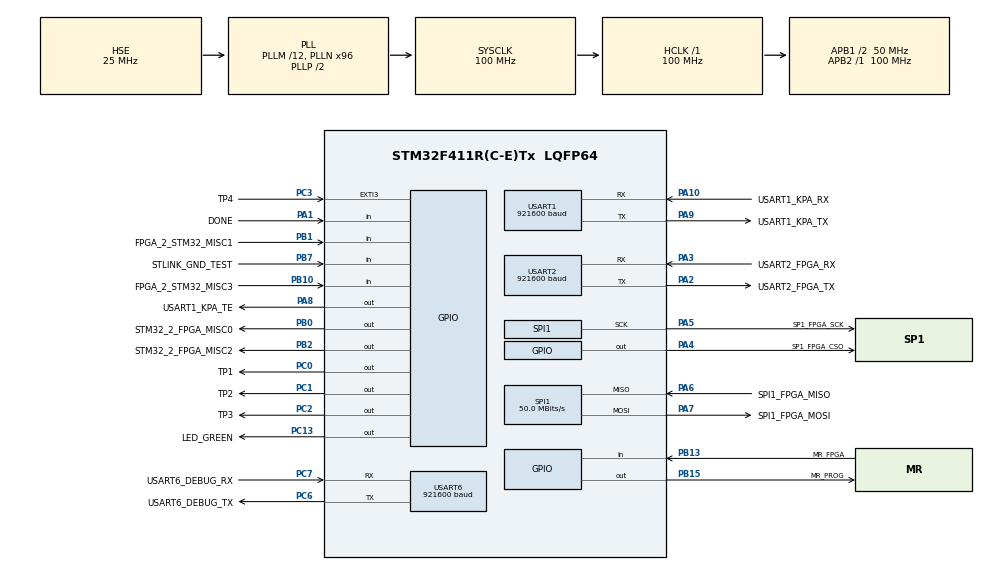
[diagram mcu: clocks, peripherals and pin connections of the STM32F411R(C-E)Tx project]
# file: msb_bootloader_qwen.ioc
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ADC1.Channel-0\#ChannelRegularConversion=ADC_CHANNEL_VREFINT
ADC1.Channel-1\#ChannelRegularConversion=ADC_CHANNEL_TEMPSENSOR
ADC1.ContinuousConvMode=ENABLE
ADC1.ExternalTrigConv=ADC_SOFTWARE_START
ADC1.InjNumberOfConversion=0
ADC1.NbrOfConversion=2
ADC1.NbrOfConversionFlag=1
ADC1.Rank-0\#ChannelRegularConversion=1
ADC1.Rank-1\#ChannelRegularConversion=2
ADC1.SamplingTime-0\#ChannelRegularConversion=ADC_SAMPLETIME_480CYCLES
ADC1.SamplingTime-1\#ChannelRegularConversion=ADC_SAMPLETIME_480CYCLES
ADC1.ScanConvMode=ENABLE
ADC1.master=1
Dma.Request0=USART6_RX
Dma.Request1=USART6_TX
Dma.Request2=USART1_RX
Dma.Request3=USART1_TX
Dma.Request4=USART2_RX
Dma.Request5=USART2_TX
Dma.USART1_RX.2.Direction=DMA_PERIPH_TO_MEMORY
Dma.USART1_RX.2.FIFOMode=DMA_FIFOMODE_DISABLE
Dma.USART1_RX.2.Instance=DMA2_Stream2
Dma.USART1_RX.2.MemDataAlignment=DMA_MDATAALIGN_BYTE
Dma.USART1_RX.2.MemInc=DMA_MINC_ENABLE
Dma.USART1_RX.2.Mode=DMA_CIRCULAR
Dma.USART1_RX.2.PeriphDataAlignment=DMA_PDATAALIGN_BYTE
Dma.USART1_RX.2.PeriphInc=DMA_PINC_DISABLE
Dma.USART1_RX.2.Priority=DMA_PRIORITY_LOW
Dma.USART1_TX.3.Direction=DMA_MEMORY_TO_PERIPH
Dma.USART1_TX.3.FIFOMode=DMA_FIFOMODE_DISABLE
Dma.USART1_TX.3.Instance=DMA2_Stream7
Dma.USART1_TX.3.MemDataAlignment=DMA_MDATAALIGN_BYTE
Dma.USART1_TX.3.MemInc=DMA_MINC_ENABLE
Dma.USART1_TX.3.Mode=DMA_NORMAL
Dma.USART1_TX.3.PeriphDataAlignment=DMA_PDATAALIGN_BYTE
Dma.USART1_TX.3.PeriphInc=DMA_PINC_DISABLE
Dma.USART1_TX.3.Priority=DMA_PRIORITY_LOW
Dma.USART2_RX.4.Direction=DMA_PERIPH_TO_MEMORY
Dma.USART2_RX.4.FIFOMode=DMA_FIFOMODE_DISABLE
Dma.USART2_RX.4.Instance=DMA1_Stream5
Dma.USART2_RX.4.MemDataAlignment=DMA_MDATAALIGN_BYTE
Dma.USART2_RX.4.MemInc=DMA_MINC_ENABLE
Dma.USART2_RX.4.Mode=DMA_NORMAL
Dma.USART2_RX.4.PeriphDataAlignment=DMA_PDATAALIGN_BYTE
Dma.USART2_RX.4.PeriphInc=DMA_PINC_DISABLE
Dma.USART2_RX.4.Priority=DMA_PRIORITY_LOW
Dma.USART2_TX.5.Direction=DMA_MEMORY_TO_PERIPH
Dma.USART2_TX.5.FIFOMode=DMA_FIFOMODE_DISABLE
Dma.USART2_TX.5.Instance=DMA1_Stream6
Dma.USART2_TX.5.MemDataAlignment=DMA_MDATAALIGN_BYTE
Dma.USART2_TX.5.MemInc=DMA_MINC_ENABLE
Dma.USART2_TX.5.Mode=DMA_NORMAL
Dma.USART2_TX.5.PeriphDataAlignment=DMA_PDATAALIGN_BYTE
Dma.USART2_TX.5.PeriphInc=DMA_PINC_DISABLE
Dma.USART2_TX.5.Priority=DMA_PRIORITY_LOW
Dma.USART6_RX.0.Direction=DMA_PERIPH_TO_MEMORY
Dma.USART6_RX.0.FIFOMode=DMA_FIFOMODE_DISABLE
Dma.USART6_RX.0.Instance=DMA2_Stream1
Dma.USART6_RX.0.MemDataAlignment=DMA_MDATAALIGN_BYTE
Dma.USART6_RX.0.MemInc=DMA_MINC_ENABLE
Dma.USART6_RX.0.Mode=DMA_CIRCULAR
Dma.USART6_RX.0.PeriphDataAlignment=DMA_PDATAALIGN_BYTE
Dma.USART6_RX.0.PeriphInc=DMA_PINC_DISABLE
Dma.USART6_RX.0.Priority=DMA_PRIORITY_LOW
Dma.USART6_TX.1.Direction=DMA_MEMORY_TO_PERIPH
Dma.USART6_TX.1.FIFOMode=DMA_FIFOMODE_DISABLE
Dma.USART6_TX.1.Instance=DMA2_Stream6
Dma.USART6_TX.1.MemDataAlignment=DMA_MDATAALIGN_BYTE
Dma.USART6_TX.1.MemInc=DMA_MINC_ENABLE
Dma.USART6_TX.1.Mode=DMA_NORMAL
Dma.USART6_TX.1.PeriphDataAlignment=DMA_PDATAALIGN_BYTE
Dma.USART6_TX.1.PeriphInc=DMA_PINC_DISABLE
Dma.USART6_TX.1.Priority=DMA_PRIORITY_LOW
FREERTOS.Tasks01=defaultTask,24,1024,StartDefaultTask,Default,NULL,Dynamic,NULL,NULL;TerminalTask,16,1024,StartTerminalTask,Default,NULL,Dynamic,NULL,NULL;TemperatureTask,8,1024,StartTemperatureTask,Default,NULL,Dynamic,NULL,NULL
FREERTOS.configTOTAL_HEAP_SIZE=32768
FREERTOS.configUSE_NEWLIB_REENTRANT=1
Mcu.Family=STM32F4
Mcu.Name=STM32F411R(C-E)Tx
Mcu.Package=LQFP64
NVIC.DMA1_Stream5_IRQn=true\:5\:0\:false\:false\:true\:true\:false\:true\:true
NVIC.DMA1_Stream6_IRQn=true\:5\:0\:false\:false\:true\:true\:false\:true\:true
NVIC.DMA2_Stream1_IRQn=true\:5\:0\:false\:false\:true\:true\:false\:true\:true
NVIC.DMA2_Stream2_IRQn=true\:5\:0\:false\:false\:true\:true\:false\:true\:true
NVIC.DMA2_Stream6_IRQn=true\:5\:0\:false\:false\:true\:true\:false\:true\:true
NVIC.DMA2_Stream7_IRQn=true\:5\:0\:false\:false\:true\:true\:false\:true\:true
NVIC.PriorityGroup=NVIC_PRIORITYGROUP_4
NVIC.TIM1_UP_TIM10_IRQn=true\:15\:0\:false\:false\:true\:false\:false\:true\:true
NVIC.TimeBase=TIM1_UP_TIM10_IRQn
NVIC.TimeBaseIP=TIM10
NVIC.USART1_IRQn=true\:5\:0\:false\:false\:true\:true\:true\:true\:true
NVIC.USART2_IRQn=true\:5\:0\:false\:false\:true\:true\:true\:true\:true
NVIC.USART6_IRQn=true\:5\:0\:false\:false\:true\:true\:true\:true\:true
PA1.GPIO_Label=DONE
PA1.Signal=GPIO_Input
PA10.GPIO_Label=USART1_KPA_RX
PA10.Mode=Asynchronous
PA10.Signal=USART1_RX
PA13.Mode=Trace_Asynchronous_SW
PA13.Signal=SYS_JTMS-SWDIO
PA14.Mode=Trace_Asynchronous_SW
PA14.Signal=SYS_JTCK-SWCLK
PA2.GPIO_Label=USART2_FPGA_TX
PA2.Mode=Asynchronous
PA2.Signal=USART2_TX
PA3.GPIO_Label=USART2_FPGA_RX
PA3.Mode=Asynchronous
PA3.Signal=USART2_RX
PA4.GPIO_Label=SP1_FPGA_CSO
PA4.GPIO_Speed=GPIO_SPEED_FREQ_VERY_HIGH
PA4.PinState=GPIO_PIN_SET
PA4.Signal=GPIO_Output
PA5.GPIO_Label=SP1_FPGA_SCK
PA5.Mode=Full_Duplex_Master
PA5.Signal=SPI1_SCK
PA6.GPIO_Label=SPI1_FPGA_MISO
PA6.Mode=Full_Duplex_Master
PA6.Signal=SPI1_MISO
PA7.GPIO_Label=SPI1_FPGA_MOSI
PA7.Mode=Full_Duplex_Master
PA7.Signal=SPI1_MOSI
PA8.GPIO_Label=USART1_KPA_TE
PA8.Signal=GPIO_Output
PA9.GPIO_Label=USART1_KPA_TX
PA9.Mode=Asynchronous
PA9.Signal=USART1_TX
PB0.GPIO_Label=STM32_2_FPGA_MISC0
PB0.PinState=GPIO_PIN_SET
PB0.Signal=GPIO_Output
PB1.GPIO_Label=FPGA_2_STM32_MISC1
PB1.GPIO_PuPd=GPIO_PULLUP
PB1.Signal=GPIO_Input
PB10.GPIO_Label=FPGA_2_STM32_MISC3
PB10.Signal=GPIO_Input
PB13.GPIO_Label=MR_FPGA
PB13.GPIO_PuPd=GPIO_PULLUP
PB13.Signal=GPIO_Input
PB15.GPIO_Label=MR_PROG
PB15.Signal=GPIO_Output
PB2.GPIO_Label=STM32_2_FPGA_MISC2
PB2.PinState=GPIO_PIN_SET
PB2.Signal=GPIO_Output
PB3.Mode=Trace_Asynchronous_SW
PB3.Signal=SYS_JTDO-SWO
PB7.GPIO_Label=STLINK_GND_TEST
PB7.GPIO_PuPd=GPIO_PULLUP
PB7.Signal=GPIO_Input
PC0.GPIO_Label=TP1
PC0.Signal=GPIO_Output
PC1.GPIO_Label=TP2
PC1.Signal=GPIO_Output
PC13-ANTI_TAMP.GPIO_Label=LED_GREEN
PC13-ANTI_TAMP.Signal=GPIO_Output
PC2.GPIO_Label=TP3
PC2.Signal=GPIO_Output
PC3.GPIO_Label=TP4
PC3.Signal=GPXTI3
PC6.GPIO_Label=USART6_DEBUG_TX
PC6.Mode=Asynchronous
PC6.Signal=USART6_TX
PC7.GPIO_Label=USART6_DEBUG_RX
PC7.Mode=Asynchronous
PC7.Signal=USART6_RX
PH0\ -\ OSC_IN.GPIO_Label=CLK25MHZ
PH0\ -\ OSC_IN.Mode=HSE-External-Clock-Source
PH0\ -\ OSC_IN.Signal=RCC_OSC_IN
PH1\ -\ OSC_OUT.Mode=HSE-External-Clock-Source
PH1\ -\ OSC_OUT.Signal=RCC_OSC_OUT
ProjectManager.HeapSize=0x4000
ProjectManager.StackSize=0x2000
ProjectManager.TargetToolchain=STM32CubeIDE
RCC.48MHZClocksFreq_Value=50000000
RCC.AHBFreq_Value=100000000
RCC.APB1CLKDivider=RCC_HCLK_DIV2
RCC.APB1Freq_Value=50000000
RCC.APB1TimFreq_Value=100000000
RCC.APB2Freq_Value=100000000
RCC.APB2TimFreq_Value=100000000
RCC.CortexFreq_Value=100000000
RCC.HCLKFreq_Value=100000000
RCC.HSE_VALUE=25000000
RCC.HSI_VALUE=16000000
RCC.LSE_VALUE=32768
RCC.PLLM=12
RCC.PLLN=96
RCC.PLLSourceVirtual=RCC_PLLSOURCE_HSE
RCC.SYSCLKFreq_VALUE=100000000
RCC.SYSCLKSource=RCC_SYSCLKSOURCE_PLLCLK
RCC.VCOOutputFreq_Value=200000000
SPI1.BaudRatePrescaler=SPI_BAUDRATEPRESCALER_2
SPI1.CLKPolarity=SPI_POLARITY_LOW
SPI1.CalculateBaudRate=50.0 MBits/s
SPI1.Direction=SPI_DIRECTION_2LINES
SPI1.Mode=SPI_MODE_MASTER
SPI1.VirtualType=VM_MASTER
USART1.BaudRate=921600
USART1.Parity=PARITY_EVEN
USART1.VirtualMode=VM_ASYNC
USART1.WordLength=WORDLENGTH_9B
USART2.BaudRate=921600
USART2.Parity=PARITY_NONE
USART2.VirtualMode=VM_ASYNC
USART2.WordLength=WORDLENGTH_8B
USART6.BaudRate=921600
USART6.Parity=PARITY_EVEN
USART6.VirtualMode=VM_ASYNC
USART6.WordLength=WORDLENGTH_9B
VP_ADC1_TempSens_Input.Mode=IN-TempSens
VP_ADC1_Vref_Input.Mode=IN-Vrefint
VP_CRC_VS_CRC.Mode=CRC_Activate
VP_FREERTOS_VS_CMSIS_V2.Mode=CMSIS_V2
VP_SYS_VS_tim10.Mode=TIM10
board=custom

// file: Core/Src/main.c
/* USER CODE BEGIN Header */
/**
  ******************************************************************************
  * @file           : main.c
  * @brief          : Main program body
  ******************************************************************************
  * @attention
  *
  * Copyright (c) 2026 STMicroelectronics.
  * All rights reserved.
  *
  * This software is licensed under terms that can be found in the LICENSE file
  * in the root directory of this software component.
  * If no LICENSE file comes with this software, it is provided AS-IS.
  *
  ******************************************************************************
  */
/* USER CODE END Header */
#include "main.h"
#include "cmsis_os.h"
#include "adc.h"
#include "crc.h"
#include "dma.h"
#include "spi.h"
#include "usart.h"
#include "gpio.h"

/* USER CODE BEGIN Includes */
#include  "board_support_package.h"
/* USER CODE END Includes */

/* USER CODE BEGIN PV */
/* Global flag indicating if the current boot is a Software Reset (Warm Boot) */
bool is_soft_reset_detected = false;
/* USER CODE END PV */

void SystemClock_Config(void);
void MX_FREERTOS_Init(void);

int main(void)
{

  /* USER CODE BEGIN 1 */
	/* Capture reset cause register before HAL_Init or RCC configuration clears it */
	is_soft_reset_detected = get_rcc_csr();
  /* USER CODE END 1 */

  /* MCU Configuration--------------------------------------------------------*/

  /* Reset of all peripherals, Initializes the Flash interface and the Systick. */
  HAL_Init();

  /* Configure the system clock */
  SystemClock_Config();

  /* Initialize all configured peripherals */
  MX_GPIO_Init();
  MX_DMA_Init();
  MX_USART6_UART_Init();
  MX_USART1_UART_Init();
  MX_USART2_UART_Init();
  MX_SPI1_Init();
  MX_ADC1_Init();
  MX_CRC_Init();

  /* Init scheduler */
  osKernelInitialize();  /* Call init function for freertos objects (in cmsis_os2.c) */
  MX_FREERTOS_Init();

  /* Start scheduler */
  osKernelStart();

  /* We should never get here as control is now taken by the scheduler */

  /* Infinite loop */
  while (1)
  {

  }
}

void SystemClock_Config(void)
{
  RCC_OscInitTypeDef RCC_OscInitStruct = {0};
  RCC_ClkInitTypeDef RCC_ClkInitStruct = {0};

  /** Configure the main internal regulator output voltage
  */
  __HAL_RCC_PWR_CLK_ENABLE();
  __HAL_PWR_VOLTAGESCALING_CONFIG(PWR_REGULATOR_VOLTAGE_SCALE1);

  /** Initializes the RCC Oscillators according to the specified parameters
  * in the RCC_OscInitTypeDef structure.
  */
  RCC_OscInitStruct.OscillatorType = RCC_OSCILLATORTYPE_HSE;
  RCC_OscInitStruct.HSEState = RCC_HSE_BYPASS;
  RCC_OscInitStruct.PLL.PLLState = RCC_PLL_ON;
  RCC_OscInitStruct.PLL.PLLSource = RCC_PLLSOURCE_HSE;
  RCC_OscInitStruct.PLL.PLLM = 12;
  RCC_OscInitStruct.PLL.PLLN = 96;
  RCC_OscInitStruct.PLL.PLLP = RCC_PLLP_DIV2;
  RCC_OscInitStruct.PLL.PLLQ = 4;
  if (HAL_RCC_OscConfig(&RCC_OscInitStruct) != HAL_OK)
  {
    Error_Handler();
  }

  /** Initializes the CPU, AHB and APB buses clocks
  */
  RCC_ClkInitStruct.ClockType = RCC_CLOCKTYPE_HCLK|RCC_CLOCKTYPE_SYSCLK
                              |RCC_CLOCKTYPE_PCLK1|RCC_CLOCKTYPE_PCLK2;
  RCC_ClkInitStruct.SYSCLKSource = RCC_SYSCLKSOURCE_PLLCLK;
  RCC_ClkInitStruct.AHBCLKDivider = RCC_SYSCLK_DIV1;
  RCC_ClkInitStruct.APB1CLKDivider = RCC_HCLK_DIV2;
  RCC_ClkInitStruct.APB2CLKDivider = RCC_HCLK_DIV1;

  if (HAL_RCC_ClockConfig(&RCC_ClkInitStruct, FLASH_LATENCY_3) != HAL_OK)
  {
    Error_Handler();
  }
}

void HAL_TIM_PeriodElapsedCallback(TIM_HandleTypeDef *htim)
{
  if (htim->Instance == TIM10)
  {
    HAL_IncTick();
  }
}

void Error_Handler(void)
{
  __disable_irq();
  while (1)
  {
  }
}

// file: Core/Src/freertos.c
/* USER CODE BEGIN Header */
/**
  ******************************************************************************
  * File Name          : freertos.c
  * Description        : Code for freertos applications (Strictly within USER CODE blocks)
  ******************************************************************************
  * @attention
  *
  * Copyright (c) 2026 STMicroelectronics.
  * All rights reserved.
  *
  * This software is licensed under terms that can be found in the LICENSE file
  * in the root directory of this software component.
  * If no LICENSE file comes with this software, it is provided AS-IS.
  *
  ******************************************************************************
  */
/* USER CODE END Header */

#include "FreeRTOS.h"
#include "task.h"
#include "main.h"
#include "cmsis_os.h"

/* USER CODE BEGIN Includes */
#include "board_support_package.h"  /* Safe central registry include */
#include "pin_mgmt.h"               /* Safe Pin access include */
#include "terminal.h"               /* Safe Terminal control include */
/* USER CODE END Includes */

/* USER CODE BEGIN PD */
/* Synchronization flag to start tasks after hardware initialization */
#define TASK_START_FLAG 0x01U
/* USER CODE END PD */

/* Definitions for defaultTask */
osThreadId_t defaultTaskHandle;
const osThreadAttr_t defaultTask_attributes = {
  .name = "defaultTask",
  .stack_size = 1024 * 4,
  .priority = (osPriority_t) osPriorityNormal,
};
/* Definitions for TerminalTask */
osThreadId_t TerminalTaskHandle;
const osThreadAttr_t TerminalTask_attributes = {
  .name = "TerminalTask",
  .stack_size = 1024 * 4,
  .priority = (osPriority_t) osPriorityBelowNormal,
};
/* Definitions for TemperatureTask */
osThreadId_t TemperatureTaskHandle;
const osThreadAttr_t TemperatureTask_attributes = {
  .name = "TemperatureTask",
  .stack_size = 1024 * 4,
  .priority = (osPriority_t) osPriorityLow,
};

void StartDefaultTask(void *argument);
void StartTerminalTask(void *argument);
void StartTemperatureTask(void *argument);

void MX_FREERTOS_Init(void); /* (MISRA C 2004 rule 8.1) */

void MX_FREERTOS_Init(void) {

  /* Create the thread(s) */
  /* creation of defaultTask */
  defaultTaskHandle = osThreadNew(StartDefaultTask, NULL, &defaultTask_attributes);

  /* creation of TerminalTask */
  TerminalTaskHandle = osThreadNew(StartTerminalTask, NULL, &TerminalTask_attributes);

  /* creation of TemperatureTask */
  TemperatureTaskHandle = osThreadNew(StartTemperatureTask, NULL, &TemperatureTask_attributes);

}

void StartDefaultTask(void *argument)
{
  /* USER CODE BEGIN StartDefaultTask */

    /* Run board-level POST and hardware initialization */
    /* Any delays (osDelay) inside this function are now completely safe */
	init_hardware();

    /* Cascade start tasks based on POST diagnostic results using Thread Flags */
	if (test_status_hardware(_B_FAULT_TERMINAL_)) {
        osThreadFlagsSet(TerminalTaskHandle, TASK_START_FLAG);
	}

    /* CPU internal temperature is highly reliable, always start */
	if (test_status_hardware(_B_FAULT_PINS_)) {
        osThreadFlagsSet(TemperatureTaskHandle, TASK_START_FLAG);
	}

	for (;;) {
        /* Direct fast port toggle on Test Point 1 (No mutex overhead) */
		PIN_Toggle_F(&pin_tp1);
		osDelay(10);
	}
  /* USER CODE END StartDefaultTask */
}

void StartTerminalTask(void *argument)
{
  /* USER CODE BEGIN StartTerminalTask */

  /* Wait for the flag from defaultTask. The task sleeps and consumes no CPU. */
  osThreadFlagsWait(TASK_START_FLAG, osFlagsWaitAny, osWaitForever);

  /* Infinite loop */
  for(;;)
  {
    terminal_task();
  }
  /* USER CODE END StartTerminalTask */
}

void StartTemperatureTask(void *argument)
{
  /* USER CODE BEGIN StartTemperatureTask */

  /* Wait for the flag from defaultTask. The task sleeps and consumes no CPU. */
  osThreadFlagsWait(TASK_START_FLAG, osFlagsWaitAny, osWaitForever);

  /* Infinite loop */
  for(;;)
  {
    /* Read CPU internal core temperature every 100 ms */
    cpu_temperature = Read_Temperature();
    osDelay(100);
  }
  /* USER CODE END StartTemperatureTask */
}
